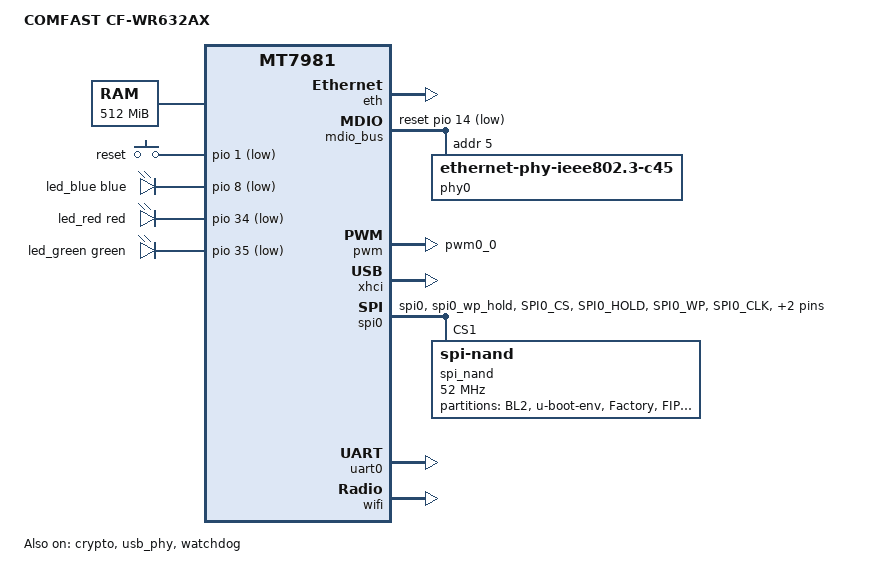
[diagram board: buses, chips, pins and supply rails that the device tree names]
// SPDX-License-Identifier: GPL-2.0-or-later OR MIT

/dts-v1/;
#include "mt7981b.dtsi"

/ {
	model = "COMFAST CF-WR632AX";
	compatible = "comfast,cf-wr632ax", "mediatek,mt7981";

	aliases {
		label-mac-device = &gmac0;
		serial0 = &uart0;
		led-boot = &led_red;
		led-failsafe = &led_red;
		led-running = &led_green;
		led-upgrade = &led_green;
	};

	chosen {
		stdout-path = "serial0:115200n8";
	};

	memory@40000000 {
		reg = <0 0x40000000 0 0x20000000>;
		device_type = "memory";
	};

	gpio-keys {
		compatible = "gpio-keys";

		reset {
			label = "reset";
			linux,code = <KEY_RESTART>;
			gpios = <&pio 1 GPIO_ACTIVE_LOW>;
		};
	};

	leds {
		compatible = "gpio-leds";

		led_blue: blue {
			gpios = <&pio 8 GPIO_ACTIVE_LOW>;
			color = <LED_COLOR_ID_BLUE>;
			function = LED_FUNCTION_WAN_ONLINE;
		};

		led_red: red {
			gpios = <&pio 34 GPIO_ACTIVE_LOW>;
			color = <LED_COLOR_ID_RED>;
			function = LED_FUNCTION_STATUS;
		};

		led_green: green {
			gpios = <&pio 35 GPIO_ACTIVE_LOW>;
			color = <LED_COLOR_ID_GREEN>;
			function = LED_FUNCTION_STATUS;
		};
	};

	fan: pwm-fan {
		pwms = <&pwm 0 10000 0>;
		status = "okay";
	};
};

&eth {
	pinctrl-names = "default";
	pinctrl-0 = <&mdio_pins>;

	status = "okay";

	gmac0: mac@0 {
		/* WAN */
		compatible = "mediatek,eth-mac";
		nvmem-cells = <&macaddr_factory_e000 1>;
		nvmem-cell-names = "mac-address";
		reg = <0>;

		phy-mode = "2500base-x";
		phy-handle = <&phy0>;
	};

	gmac1: mac@1 {
		/* LAN */
		compatible = "mediatek,eth-mac";
		nvmem-cells = <&macaddr_factory_e000 0>;
		nvmem-cell-names = "mac-address";
		reg = <1>;

		phy-mode = "gmii";
		phy-handle = <&int_gbe_phy>;
	};
};

&mdio_bus {
	reset-gpios = <&pio 14 GPIO_ACTIVE_LOW>;
	reset-delay-us = <600>;
	reset-post-delay-us = <20000>;

	phy0: ethernet-phy@5 {
		reg = <5>;
		compatible = "ethernet-phy-ieee802.3-c45";
	};
};

&pwm {
	pinctrl-names = "default";
	pinctrl-0 = <&pwm0_pin>;

	status = "okay";
};

&crypto {
	status = "okay";
};

&pio {
	spi0_flash_pins: spi0-pins {
		mux {
			function = "spi";
			groups = "spi0", "spi0_wp_hold";
		};
		conf-pu {
			pins = "SPI0_CS", "SPI0_HOLD", "SPI0_WP";
			drive-strength = <MTK_DRIVE_8mA>;
			bias-pull-up = <MTK_PUPD_SET_R1R0_11>;
		};
		conf-pd {
			pins = "SPI0_CLK", "SPI0_MOSI", "SPI0_MISO";
			drive-strength = <MTK_DRIVE_8mA>;
			bias-pull-down = <MTK_PUPD_SET_R1R0_11>;
		};
	};

	pwm0_pin: pwm0-pin-g0 {
		mux {
			function = "pwm";
			groups = "pwm0_0";
		};
	};
};

&xhci {
	status = "okay";
};

&usb_phy {
	status = "okay";
};

&spi0 {
	pinctrl-names = "default";
	pinctrl-0 = <&spi0_flash_pins>;
	cs-gpios = <0>, <0>;
	#address-cells = <1>;
	#size-cells = <0>;
	status = "okay";
	#address-cells = <1>;
	#size-cells = <0>;

	spi_nand: spi_nand@1 {
		#address-cells = <1>;
		#size-cells = <1>;
		compatible = "spi-nand";
		reg = <1>;
		spi-max-frequency = <52000000>;

		spi-cal-enable;
		spi-cal-mode = "read-data";
		spi-cal-datalen = <7>;
		spi-cal-data = /bits/ 8 <0x53 0x50 0x49 0x4E 0x41 0x4E 0x44>;
		spi-cal-addrlen = <5>;
		spi-cal-addr = /bits/ 32 <0x0 0x0 0x0 0x0 0x0>;

		spi-tx-bus-width = <4>;
		spi-rx-bus-width = <4>;
		mediatek,nmbm;
		mediatek,bmt-max-ratio = <1>;
		mediatek,bmt-max-reserved-blocks = <64>;

		partitions {
			compatible = "fixed-partitions";
			#address-cells = <1>;
			#size-cells = <1>;

			partition@0 {
				label = "BL2";
				reg = <0x00000 0x0100000>;
				read-only;
			};

			partition@100000 {
				label = "u-boot-env";
				reg = <0x0100000 0x0080000>;
				read-only;
			};

			factory: partition@180000 {
				label = "Factory";
				reg = <0x180000 0x0200000>;
				read-only;

				nvmem-layout {
					compatible = "fixed-layout";
					#address-cells = <1>;
					#size-cells = <1>;

					eeprom_factory_0: eeprom@0 {
						reg = <0x0 0x1000>;
					};

					macaddr_factory_e000: macaddr@e000 {
						compatible = "mac-base";
						reg = <0xe000 0x6>;
						#nvmem-cell-cells = <1>;
					};
				};
			};

			partition@380000 {
				label = "FIP";
				reg = <0x380000 0x0200000>;
				read-only;
			};

			partition@580000 {
				label = "ubi";
				reg = <0x580000 0x4000000>;
				compatible = "linux,ubi";
			};
		};
	};
};

&uart0 {
	status = "okay";
};

&watchdog {
	status = "okay";
};

&wifi {
	status = "okay";
	nvmem-cells = <&eeprom_factory_0>;
	nvmem-cell-names = "eeprom";
};
